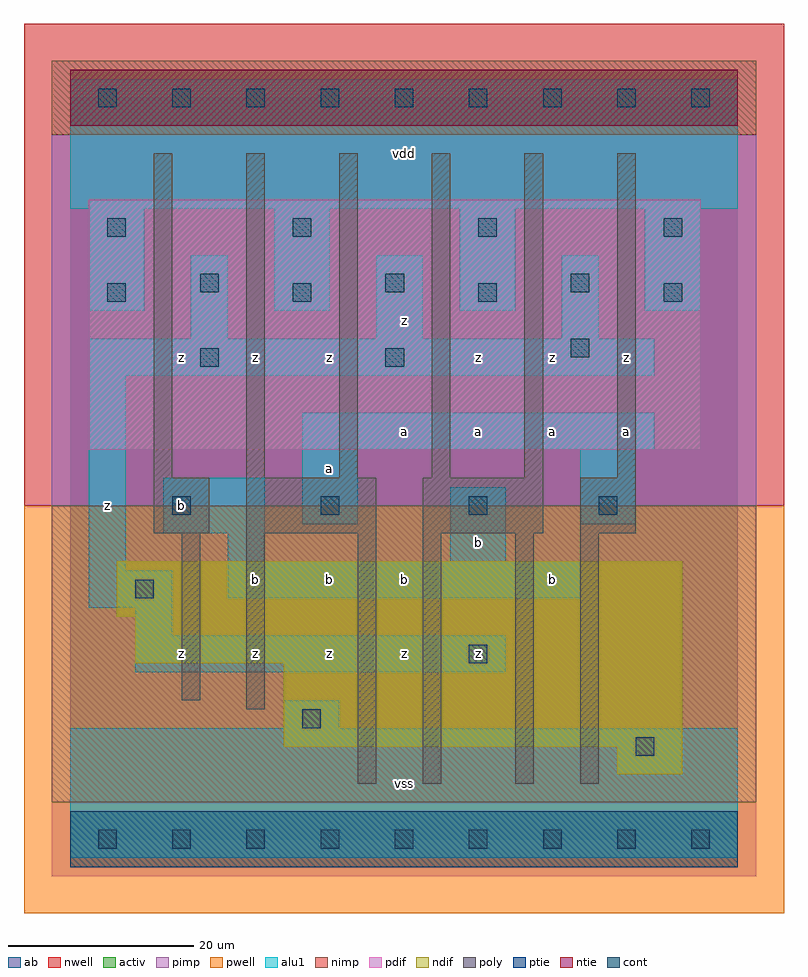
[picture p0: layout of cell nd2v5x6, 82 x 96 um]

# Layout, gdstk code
import gdstk
lib = gdstk.Library(unit=1e-6, precision=1e-09)
def R(c, l, rs):  # rectangles x0, y0, x1, y1
    for r in rs: c.add(gdstk.rectangle(r[:2], r[2:], *l))
def A(c, l, x, y, w, h, nx, ny, dx, dy):  # array of equal rectangles
    R(c, l, [(x+i*dx, y+j*dy, x+i*dx+w, y+j*dy+h) for i in range(nx) for j in range(ny)])
ndif = (3, 0)
pdif = (4, 0)
ntie = (5, 0)
ptie = (6, 0)
cont = (25, 0)
pwell = (41, 0)
nwell = (42, 0)
activ = (43, 0)
pimp = (44, 0)
nimp = (45, 0)
poly = (46, 0)
alu1 = (49, 0)
ab = (63, 0)

nd2v5x6 = lib.new_cell('nd2v5x6')
R(nd2v5x6, ndif, [(59,7,66,10), (23,10,66,19), (7,19,66,24), (5,24,66,30)])
R(nd2v5x6, pdif, [(2,42,68,69)])
R(nd2v5x6, ntie, [(0,77,72,83)])
R(nd2v5x6, ptie, [(0,-3,72,3)])
A(nd2v5x6, cont, 3, -1, 2, 2, 9, 2, 8, 80)
A(nd2v5x6, cont, 11, 35, 2, 2, 3, 1, 16, 0)
A(nd2v5x6, cont, 4, 58, 2, 2, 4, 2, 20, 7)
A(nd2v5x6, cont, 14, 59, 2, 2, 3, 1, 20, 0)
R(nd2v5x6, cont, [(61,9,63,11), (25,12,27,14), (43,19,45,21), (7,26,9,28), (57,35,59,37), (14,51,16,53), (34,51,36,53), (54,52,56,54)])
R(nd2v5x6, pwell, [(-5,-8,77,36)])
R(nd2v5x6, nwell, [(-5,36,77,88)])
R(nd2v5x6, activ, [(0,-3,72,3), (59,7,66,10), (23,10,66,19), (7,19,66,24), (5,24,66,30), (2,42,68,69), (0,77,72,83)])
R(nd2v5x6, pimp, [(-2,-4,74,4), (-2,36,74,76)])
R(nd2v5x6, nimp, [(-2,4,74,36), (-2,76,74,84)])
A(nd2v5x6, poly, 9, 39, 2, 35, 6, 1, 10, 0)
R(nd2v5x6, poly, [(31,6,33,33), (38,6,40,33), (48,6,50,33), (55,6,57,33), (19,14,21,33), (12,15,14,33), (9,33,15,39), (19,33,33,39), (38,33,51,39), (55,33,61,39)])
A(nd2v5x6, alu1, 2, 57, 6, 11, 4, 1, 20, 0)
R(nd2v5x6, alu1, [(0,-2,72,12), (23,12,29,15), (7,18,47,22), (7,22,11,25), (2,25,11,29), (17,26,55,30), (2,29,6,50), (17,30,21,33), (41,30,47,38), (10,33,21,39), (25,34,31,42), (55,34,61,42), (25,42,63,46), (2,50,63,54), (13,54,17,63), (33,54,38,63), (53,54,57,63), (0,68,72,82)])
R(nd2v5x6, ab, [(0,0,72,80)])
nd2v5x6.add(gdstk.Label('z', (4,36), layer=49, texttype=0))
nd2v5x6.add(gdstk.Label('z', (12,20), layer=49, texttype=0))
nd2v5x6.add(gdstk.Label('z', (20,20), layer=49, texttype=0))
nd2v5x6.add(gdstk.Label('b', (20,28), layer=49, texttype=0))
nd2v5x6.add(gdstk.Label('b', (12,36), layer=49, texttype=0))
nd2v5x6.add(gdstk.Label('z', (20,52), layer=49, texttype=0))
nd2v5x6.add(gdstk.Label('z', (12,52), layer=49, texttype=0))
nd2v5x6.add(gdstk.Label('vss', (36,6), layer=49, texttype=0))
nd2v5x6.add(gdstk.Label('z', (28,20), layer=49, texttype=0))
nd2v5x6.add(gdstk.Label('b', (28,28), layer=49, texttype=0))
nd2v5x6.add(gdstk.Label('z', (36,20), layer=49, texttype=0))
nd2v5x6.add(gdstk.Label('b', (36,28), layer=49, texttype=0))
nd2v5x6.add(gdstk.Label('a', (28,40), layer=49, texttype=0))
nd2v5x6.add(gdstk.Label('a', (36,44), layer=49, texttype=0))
nd2v5x6.add(gdstk.Label('z', (28,52), layer=49, texttype=0))
nd2v5x6.add(gdstk.Label('z', (36,56), layer=49, texttype=0))
nd2v5x6.add(gdstk.Label('vdd', (36,74), layer=49, texttype=0))
nd2v5x6.add(gdstk.Label('z', (44,20), layer=49, texttype=0))
nd2v5x6.add(gdstk.Label('b', (52,28), layer=49, texttype=0))
nd2v5x6.add(gdstk.Label('b', (44,32), layer=49, texttype=0))
nd2v5x6.add(gdstk.Label('a', (44,44), layer=49, texttype=0))
nd2v5x6.add(gdstk.Label('a', (52,44), layer=49, texttype=0))
nd2v5x6.add(gdstk.Label('z', (52,52), layer=49, texttype=0))
nd2v5x6.add(gdstk.Label('z', (44,52), layer=49, texttype=0))
nd2v5x6.add(gdstk.Label('a', (60,44), layer=49, texttype=0))
nd2v5x6.add(gdstk.Label('z', (60,52), layer=49, texttype=0))

lib.write_gds('nd2v5x6.gds')
